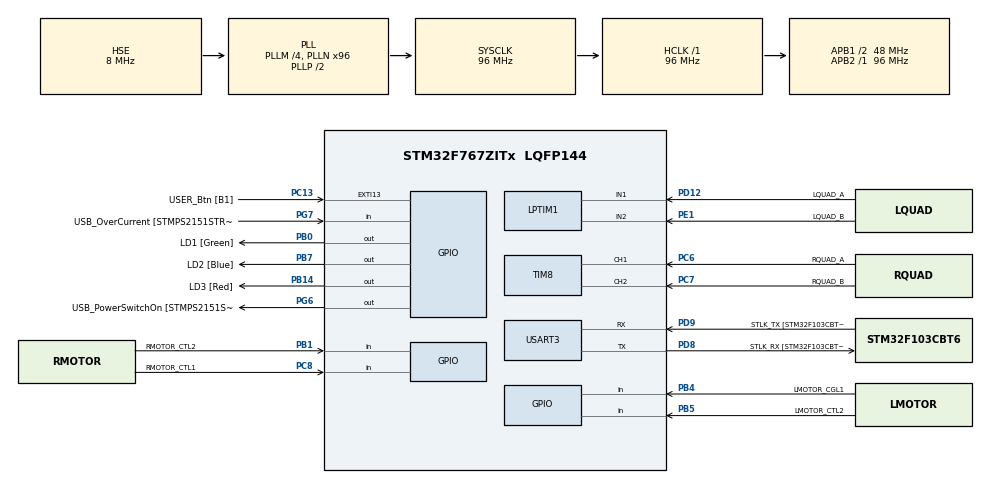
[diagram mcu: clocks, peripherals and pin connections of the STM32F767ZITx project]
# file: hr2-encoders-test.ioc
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Mcu.Family=STM32F7
PD12.GPIO_Label=LQUAD_A
RCC.CortexFreq_Value=96000000
PG6.Signal=GPIO_Output
PB14.GPIO_Label=LD3 [Red]
PG6.GPIO_Label=USB_PowerSwitchOn [STMPS2151STR_EN]
PA14.GPIO_Label=TCK
RCC.SYSCLKSourceVirtual=RCC_SYSCLKSOURCE_PLLCLK
PC6.GPIO_Label=RQUAD_A
TIM8.EncoderMode=TIM_ENCODERMODE_TI12
PB0.GPIO_Label=LD1 [Green]
PC14/OSC32_IN.Mode=LSE-External-Oscillator
PC13.GPIO_Label=USER_Btn [B1]
PB13.GPIO_Label=RMII_TXD1 [LAN8742A-CZ-TR_TXD1]
PB13.Signal=ETH_TXD1
PG13.Signal=ETH_TXD0
PD9.Mode=Asynchronous
PG11.Signal=ETH_TX_EN
RCC.SYSCLKSource=RCC_SYSCLKSOURCE_PLLCLK
ProjectManager.StackSize=0x400
USART3.VirtualMode-Asynchronous=VM_ASYNC
PA12.Signal=USB_OTG_FS_DP
PH0/OSC_IN.Mode=HSE-External-Clock-Source
PB1.GPIO_PuPd=GPIO_PULLDOWN
RCC.HCLKFreq_Value=96000000
RCC.APB2TimFreq_Value=96000000
PC7.Signal=S_TIM8_CH2
PH1/OSC_OUT.Signal=RCC_OSC_OUT
PD8.Signal=USART3_TX
PE1.Signal=LPTIM1_IN2
RCC.AHBFreq_Value=96000000
RCC.HSE_VALUE=8000000
RCC.PLLMUL=RCC_PLL_MUL9
PC4.GPIO_Label=RMII_RXD0 [LAN8742A-CZ-TR_RXD0]
PA14.Mode=Serial_Wire
PB1.GPIO_Label=RMOTOR_CTL2
PA10.GPIO_Label=USB_ID
PB7.Signal=GPIO_Output
PA8.Signal=USB_OTG_FS_SOF
PH1/OSC_OUT.Mode=HSE-External-Clock-Source
PB7.GPIO_Label=LD2 [Blue]
Mcu.Package=LQFP144
PB1.Signal=GPIO_Input
PD12.Signal=LPTIM1_IN1
PC14/OSC32_IN.Signal=RCC_OSC32_IN
PA2.GPIO_Label=RMII_MDIO [LAN8742A-CZ-TR_MDIO]
PA10.Signal=USB_OTG_FS_ID
PC6.GPIO_PuPd=GPIO_PULLUP
PB5.GPIO_Label=LMOTOR_CTL2
RCC.APB1TimFreq_Value=96000000
PG11.GPIO_Label=RMII_TX_EN [LAN8742A-CZ-TR_TXEN]
PC5.Signal=ETH_RXD1
PB4.Signal=GPIO_Input
PB3.GPIO_Label=SWO
RCC.PLLSourceVirtual=RCC_PLLSOURCE_HSE
PG7.Signal=GPIO_Input
PD9.GPIO_Label=STLK_TX [STM32F103CBT6_PA2]
PC13.Signal=GPXTI13
PA9.GPIO_Label=USB_VBUS
PE1.Mode=Encoder_mode_occur1
PC8.Signal=GPIO_Input
PC4.Signal=ETH_RXD0
PC6.Signal=S_TIM8_CH1
PA11.GPIO_Label=USB_DM
PE1.GPIO_PuPd=GPIO_PULLUP
PD9.Signal=USART3_RX
RCC.APB1CLKDivider=RCC_HCLK_DIV2
PG13.GPIO_Label=RMII_TXD0 [LAN8742A-CZ-TR_TXD0]
PA12.GPIO_Label=USB_DP
SH.S_TIM8_CH2.0=TIM8_CH2,Encoder_Interface
PD8.GPIO_Label=STLK_RX [STM32F103CBT6_PA3]
PC8.GPIO_Label=RMOTOR_CTL1
PA13.Signal=SYS_JTMS-SWDIO
PA8.GPIO_Label=USB_SOF [TP1]
ProjectManager.TargetToolchain=STM32CubeIDE
PA9.Signal=USB_OTG_FS_VBUS
PB4.GPIO_PuPd=GPIO_PULLDOWN
RCC.USBFreq_Value=48000000
PC7.GPIO_PuPd=GPIO_PULLUP
PD8.Mode=Asynchronous
PA1.Signal=ETH_REF_CLK
PB14.Signal=GPIO_Output
SH.S_TIM8_CH1.0=TIM8_CH1,Encoder_Interface
board=NUCLEO-F767ZI
RCC.VCOOutputFreq_Value=192000000
PE1.GPIO_Label=LQUAD_B
PH0/OSC_IN.Signal=RCC_OSC_IN
RCC.APB2Freq_Value=96000000
PB4.GPIO_Label=LMOTOR_CGL1
RCC.PRESCALERUSB=RCC_USBCLKSOURCE_PLL_DIV1_5
PG7.GPIO_Label=USB_OverCurrent [STMPS2151STR_FAULT]
PA1.GPIO_Label=RMII_REF_CLK [LAN8742A-CZ-TR_REFCLK0]
PC1.GPIO_Label=RMII_MDC [LAN8742A-CZ-TR_MDC]
PA13.Mode=Serial_Wire
Mcu.Name=STM32F767ZITx
PA2.Signal=ETH_MDIO
PA13.GPIO_Label=TMS
PC7.GPIO_Label=RQUAD_B
RCC.48MHZClocksFreq_Value=24000000
PC8.GPIO_PuPd=GPIO_PULLDOWN
PB3.Signal=SYS_JTDO-SWO
RCC.SYSCLKFreq_VALUE=96000000
PB5.Signal=GPIO_Input
PA7.GPIO_Label=RMII_CRS_DV [LAN8742A-CZ-TR_CRS_DV]
PD12.Mode=Encoder_mode_occur1
PC5.GPIO_Label=RMII_RXD1 [LAN8742A-CZ-TR_RXD1]
PB5.GPIO_PuPd=GPIO_PULLDOWN
PC15/OSC32_OUT.Mode=LSE-External-Oscillator
PA11.Signal=USB_OTG_FS_DM
PA14.Signal=SYS_JTCK-SWCLK
ProjectManager.HeapSize=0x200
RCC.HSI_VALUE=16000000
PH0/OSC_IN.GPIO_Label=MCO [STM32F103CBT6_PA8]
RCC.PLLQ=4
NVIC.PriorityGroup=NVIC_PRIORITYGROUP_4
RCC.PLLM=4
RCC.PLLN=96
PC15/OSC32_OUT.Signal=RCC_OSC32_OUT
RCC.APB1Freq_Value=48000000
PB0.Signal=GPIO_Output
PC1.Signal=ETH_MDC
PD12.GPIO_PuPd=GPIO_PULLUP
PA7.Signal=ETH_CRS_DV

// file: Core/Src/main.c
/* USER CODE BEGIN Header */
/**
  ******************************************************************************
  * @file           : main.c
  * @brief          : Main program body
  ******************************************************************************
  * @attention
  *
  * <h2><center>&copy; Copyright (c) 2020 STMicroelectronics.
  * All rights reserved.</center></h2>
  *
  * This software component is licensed by ST under BSD 3-Clause license,
  * the "License"; You may not use this file except in compliance with the
  * License. You may obtain a copy of the License at:
  *                        opensource.org/licenses/BSD-3-Clause
  *
  ******************************************************************************
  */
/* USER CODE END Header */
#include "main.h"
#include "lptim.h"
#include "tim.h"
#include "usart.h"
#include "gpio.h"

/* USER CODE BEGIN Includes */
#include <stdio.h>
#include "retarget.h"
/* USER CODE END Includes */

void SystemClock_Config(void);

int main(void)
{

  /* MCU Configuration--------------------------------------------------------*/

  /* Reset of all peripherals, Initializes the Flash interface and the Systick. */
  HAL_Init();

  /* Configure the system clock */
  SystemClock_Config();

  /* Initialize all configured peripherals */
  MX_GPIO_Init();
  MX_USART3_UART_Init();
  MX_TIM8_Init();
  MX_LPTIM1_Init();
  /* USER CODE BEGIN 2 */
  // Use UART3 for stdio
  RetargetInit(&huart3);
  /* USER CODE END 2 */

  /* Infinite loop */
  /* USER CODE BEGIN WHILE */
  HAL_TIM_Encoder_Start(&htim8,TIM_CHANNEL_ALL);
  HAL_LPTIM_Encoder_Start(&hlptim1,65535L);

  // Initialize right and left encoder last readings
  int32_t r_last = 0;
  int32_t l_last = 0;

  while (1)
  {
    /* USER CODE END WHILE */

    /* USER CODE BEGIN 3 */
	    // Read right and left encoder counts
		int32_t r_enc = __HAL_TIM_GET_COUNTER(&htim8);
		int32_t l_enc = HAL_LPTIM_ReadCounter(&hlptim1);

	    // If right encoder count has changed, print new value and update last reading
		if (r_enc != r_last) {
		  printf("r_enc = %ld\r\n", r_enc);
		  r_last = r_enc;
		}

	    // If left encoder count has changed, print new value and update last reading
		if (l_enc != l_last) {
		  printf("l_enc = %ld\r\n", l_enc);
		  l_last = l_enc;
		}

		HAL_Delay(100);
  }
  /* USER CODE END 3 */
}

void SystemClock_Config(void)
{
  RCC_OscInitTypeDef RCC_OscInitStruct = {0};
  RCC_ClkInitTypeDef RCC_ClkInitStruct = {0};
  RCC_PeriphCLKInitTypeDef PeriphClkInitStruct = {0};

  /** Configure LSE Drive Capability
  */
  HAL_PWR_EnableBkUpAccess();
  /** Configure the main internal regulator output voltage
  */
  __HAL_RCC_PWR_CLK_ENABLE();
  __HAL_PWR_VOLTAGESCALING_CONFIG(PWR_REGULATOR_VOLTAGE_SCALE3);
  /** Initializes the RCC Oscillators according to the specified parameters
  * in the RCC_OscInitTypeDef structure.
  */
  RCC_OscInitStruct.OscillatorType = RCC_OSCILLATORTYPE_HSE;
  RCC_OscInitStruct.HSEState = RCC_HSE_BYPASS;
  RCC_OscInitStruct.PLL.PLLState = RCC_PLL_ON;
  RCC_OscInitStruct.PLL.PLLSource = RCC_PLLSOURCE_HSE;
  RCC_OscInitStruct.PLL.PLLM = 4;
  RCC_OscInitStruct.PLL.PLLN = 96;
  RCC_OscInitStruct.PLL.PLLP = RCC_PLLP_DIV2;
  RCC_OscInitStruct.PLL.PLLQ = 4;
  if (HAL_RCC_OscConfig(&RCC_OscInitStruct) != HAL_OK)
  {
    Error_Handler();
  }
  /** Activate the Over-Drive mode
  */
  if (HAL_PWREx_EnableOverDrive() != HAL_OK)
  {
    Error_Handler();
  }
  /** Initializes the CPU, AHB and APB buses clocks
  */
  RCC_ClkInitStruct.ClockType = RCC_CLOCKTYPE_HCLK|RCC_CLOCKTYPE_SYSCLK
                              |RCC_CLOCKTYPE_PCLK1|RCC_CLOCKTYPE_PCLK2;
  RCC_ClkInitStruct.SYSCLKSource = RCC_SYSCLKSOURCE_PLLCLK;
  RCC_ClkInitStruct.AHBCLKDivider = RCC_SYSCLK_DIV1;
  RCC_ClkInitStruct.APB1CLKDivider = RCC_HCLK_DIV2;
  RCC_ClkInitStruct.APB2CLKDivider = RCC_HCLK_DIV1;

  if (HAL_RCC_ClockConfig(&RCC_ClkInitStruct, FLASH_LATENCY_3) != HAL_OK)
  {
    Error_Handler();
  }
  PeriphClkInitStruct.PeriphClockSelection = RCC_PERIPHCLK_USART3|RCC_PERIPHCLK_LPTIM1;
  PeriphClkInitStruct.Usart3ClockSelection = RCC_USART3CLKSOURCE_PCLK1;
  PeriphClkInitStruct.Lptim1ClockSelection = RCC_LPTIM1CLKSOURCE_PCLK;
  if (HAL_RCCEx_PeriphCLKConfig(&PeriphClkInitStruct) != HAL_OK)
  {
    Error_Handler();
  }
}

void Error_Handler(void)
{
  __disable_irq();
  while (1)
  {
  }
}

/************************ (C) COPYRIGHT STMicroelectronics *****END OF FILE****/
